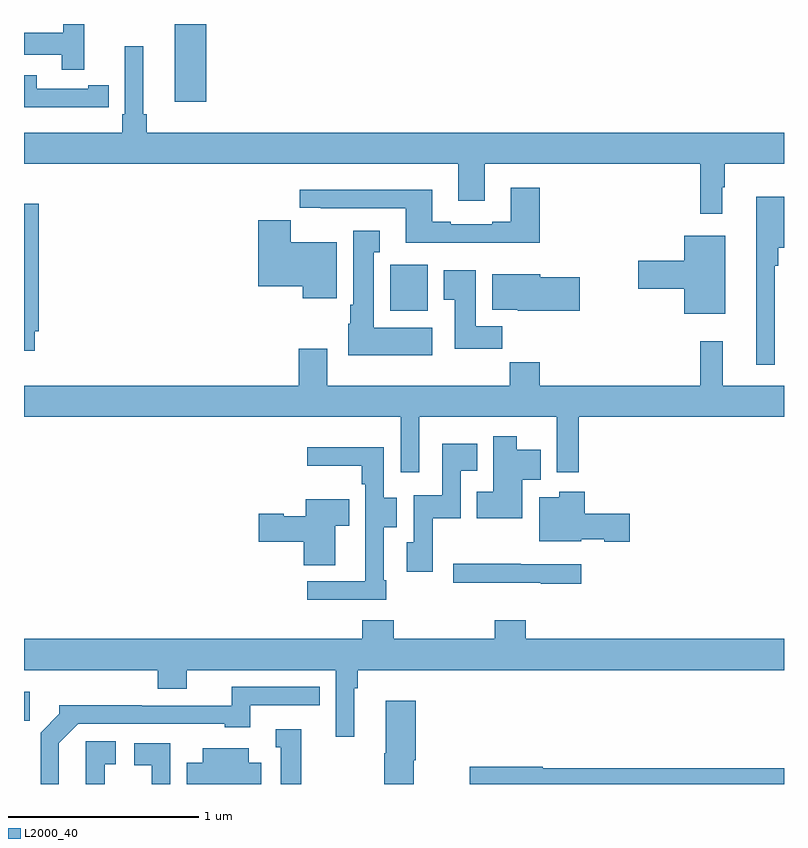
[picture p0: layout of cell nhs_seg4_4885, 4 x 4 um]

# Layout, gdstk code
import gdstk
lib = gdstk.Library(unit=1e-6, precision=1e-09)
def R(c, l, rs):  # rectangles x0, y0, x1, y1
    for r in rs: c.add(gdstk.rectangle(r[:2], r[2:], *l))
def P(c, l, *ps):  # polygons
    for p in ps: c.add(gdstk.Polygon(p, *l))
L2000_40 = (2000, 40)

nhs_seg4_4885 = lib.new_cell('nhs_seg4_4885')
R(nhs_seg4_4885, L2000_40, [(375,783.233,375.029,783.385), (376.928,785.39,377.125,785.632), (375.794,786.492,375.958,786.9)])
P(nhs_seg4_4885, L2000_40, [(375.317,786.9),(375.207,786.9),(375.207,786.854),(375,786.854),(375,786.738),(375.199,786.738),(375.199,786.66),(375.317,786.66)],
  [(378.676,786.041),(378.688,786.041),(378.688,786.164),(379,786.164),(379,786.328),(375.647,786.328),(375.647,786.424),(375.628,786.424),(375.628,786.784),(375.531,786.784),(375.531,786.424),(375.518,786.424),(375.518,786.328),(375,786.328),(375,786.164),(377.285,786.164),(377.285,785.97),(377.425,785.97),(377.425,786.164),(378.559,786.164),(378.559,785.901),(378.676,785.901)],
  [(375.338,786.462),(375.446,786.462),(375.446,786.578),(375.338,786.578),(375.338,786.558),(375.066,786.558),(375.066,786.63),(375,786.63),(375,786.461),(375.338,786.461)],
  [(377.714,786.037),(377.561,786.037),(377.561,785.86),(377.465,785.86),(377.465,785.847),(377.245,785.847),(377.245,785.86),(377.149,785.86),(377.149,786.028),(376.452,786.028),(376.452,785.933),(376.561,785.933),(376.561,785.931),(377.009,785.931),(377.009,785.75),(377.714,785.75)],
  [(378.951,785.627),(378.971,785.627),(378.971,785.723),(379,785.723),(379,785.992),(378.854,785.992),(378.854,785.106),(378.951,785.106)],
  [(375.057,785.284),(375.077,785.284),(375.077,785.953),(375,785.953),(375,785.18),(375.057,785.18)],
  [(376.645,785.752),(376.405,785.752),(376.405,785.868),(376.232,785.868),(376.232,785.519),(376.466,785.519),(376.466,785.456),(376.645,785.456)],
  [(377.149,785.302),(376.84,785.302),(376.84,785.699),(376.873,785.699),(376.873,785.812),(376.733,785.812),(376.733,785.422),(376.718,785.422),(376.718,785.322),(376.706,785.322),(376.706,785.156),(377.149,785.156)],
  [(378.691,785.785),(378.476,785.785),(378.476,785.654),(378.234,785.654),(378.234,785.507),(378.476,785.507),(378.476,785.375),(378.691,785.375)],
  [(377.516,785.308),(377.377,785.308),(377.377,785.605),(377.21,785.605),(377.21,785.449),(377.267,785.449),(377.267,785.19),(377.516,785.19)],
  [(377.926,785.567),(377.716,785.567),(377.716,785.584),(377.465,785.584),(377.465,785.396),(377.598,785.396),(377.598,785.39),(377.926,785.39)],
  [(377.079,784.832),(377.805,784.832),(377.805,784.542),(377.921,784.542),(377.921,784.832),(379,784.832),(379,784.996),(378.677,784.996),(378.677,785.23),(378.559,785.23),(378.559,784.996),(377.714,784.996),(377.714,785.12),(377.557,785.12),(377.557,784.996),(376.597,784.996),(376.597,785.191),(376.445,785.191),(376.445,784.996),(375,784.996),(375,784.832),(376.983,784.832),(376.983,784.542),(377.079,784.542)],
  [(377.623,784.502),(377.72,784.502),(377.72,784.66),(377.593,784.66),(377.593,784.729),(377.471,784.729),(377.471,784.438),(377.383,784.438),(377.383,784.298),(377.623,784.298)],
  [(377.151,784.298),(377.298,784.298),(377.298,784.55),(377.386,784.55),(377.386,784.69),(377.202,784.69),(377.202,784.42),(377.052,784.42),(377.052,784.173),(377.015,784.173),(377.015,784.017),(377.151,784.017)],
  [(376.906,783.973),(376.893,783.973),(376.893,784.252),(376.963,784.252),(376.963,784.407),(376.893,784.407),(376.893,784.672),(376.491,784.672),(376.491,784.574),(376.777,784.574),(376.777,784.478),(376.797,784.478),(376.797,784.163),(376.796,784.163),(376.796,783.966),(376.491,783.966),(376.491,783.87),(376.906,783.87)],
  [(378.187,784.322),(377.951,784.322),(377.951,784.438),(377.816,784.438),(377.816,784.408),(377.711,784.408),(377.711,784.178),(377.934,784.178),(377.934,784.187),(378.054,784.187),(378.054,784.175),(378.187,784.175)],
  [(376.639,784.259),(376.712,784.259),(376.712,784.399),(376.484,784.399),(376.484,784.309),(376.368,784.309),(376.368,784.322),(376.236,784.322),(376.236,784.175),(376.472,784.175),(376.472,784.051),(376.639,784.051)],
  [(377.932,784.056),(377.615,784.056),(377.615,784.059),(377.259,784.059),(377.259,783.959),(377.719,783.959),(377.719,783.955),(377.932,783.955)],
  [(376.738,783.404),(376.757,783.404),(376.757,783.5),(379,783.5),(379,783.664),(377.642,783.664),(377.642,783.763),(377.477,783.763),(377.477,783.664),(376.946,783.664),(376.946,783.763),(376.781,783.763),(376.781,783.664),(375,783.664),(375,783.5),(375.704,783.5),(375.704,783.401),(375.856,783.401),(375.856,783.5),(376.641,783.5),(376.641,783.15),(376.738,783.15)],
  [(375.184,783.115),(375.285,783.216),(376.056,783.216),(376.056,783.2),(376.192,783.2),(376.192,783.315),(376.556,783.315),(376.556,783.411),(376.093,783.411),(376.093,783.312),(375.62,783.312),(375.62,783.314),(375.186,783.314),(375.186,783.269),(375.087,783.17),(375.087,782.9),(375.184,782.9)],
  [(377.05,783.024),(377.063,783.024),(377.063,783.337),(376.904,783.337),(376.904,783.062),(376.897,783.062),(376.897,782.9),(377.05,782.9)],
  [(376.459,783.187),(376.325,783.187),(376.325,783.093),(376.35,783.093),(376.35,782.9),(376.459,782.9)],
  [(375.426,783.003),(375.484,783.003),(375.484,783.124),(375.326,783.124),(375.326,782.9),(375.426,782.9)],
  [(375.771,783.114),(375.579,783.114),(375.579,782.998),(375.673,782.998),(375.673,782.9),(375.771,782.9)],
  [(376.249,783.013),(376.183,783.013),(376.183,783.088),(375.941,783.088),(375.941,783.013),(375.856,783.013),(375.856,782.9),(376.249,782.9)],
  [(379,782.984),(377.73,782.984),(377.73,782.99),(377.346,782.99),(377.346,782.9),(379,782.9)])

lib.write_gds('nhs_seg4_4885.gds')
